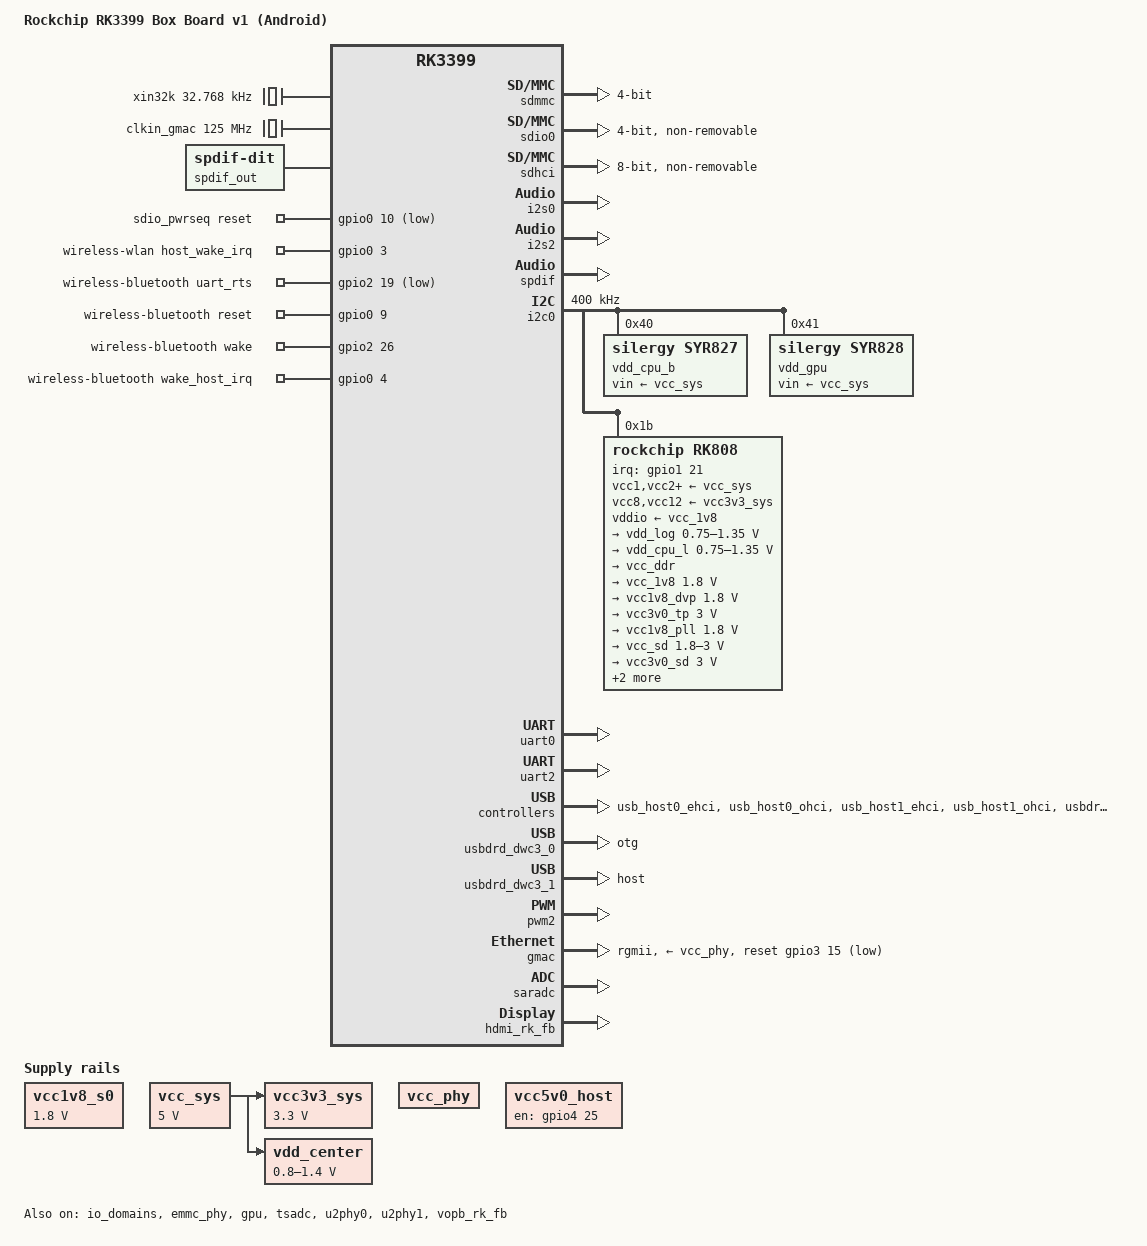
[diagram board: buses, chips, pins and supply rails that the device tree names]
/*
 * Copyright (c) 2016 Fuzhou Rockchip Electronics Co., Ltd
 *
 * This file is dual-licensed: you can use it either under the terms
 * of the GPL or the X11 license, at your option. Note that this dual
 * licensing only applies to this file, and not this project as a
 * whole.
 *
 *  a) This file is free software; you can redistribute it and/or
 *     modify it under the terms of the GNU General Public License as
 *     published by the Free Software Foundation; either version 2 of the
 *     License, or (at your option) any later version.
 *
 *     This file is distributed in the hope that it will be useful,
 *     but WITHOUT ANY WARRANTY; without even the implied warranty of
 *     MERCHANTABILITY or FITNESS FOR A PARTICULAR PURPOSE.  See the
 *     GNU General Public License for more details.
 *
 * Or, alternatively,
 *
 *  b) Permission is hereby granted, free of charge, to any person
 *     obtaining a copy of this software and associated documentation
 *     files (the "Software"), to deal in the Software without
 *     restriction, including without limitation the rights to use,
 *     copy, modify, merge, publish, distribute, sublicense, and/or
 *     sell copies of the Software, and to permit persons to whom the
 *     Software is furnished to do so, subject to the following
 *     conditions:
 *
 *     The above copyright notice and this permission notice shall be
 *     included in all copies or substantial portions of the Software.
 *
 *     THE SOFTWARE IS PROVIDED "AS IS", WITHOUT WARRANTY OF ANY KIND,
 *     EXPRESS OR IMPLIED, INCLUDING BUT NOT LIMITED TO THE WARRANTIES
 *     OF MERCHANTABILITY, FITNESS FOR A PARTICULAR PURPOSE AND
 *     NONINFRINGEMENT. IN NO EVENT SHALL THE AUTHORS OR COPYRIGHT
 *     HOLDERS BE LIABLE FOR ANY CLAIM, DAMAGES OR OTHER LIABILITY,
 *     WHETHER IN AN ACTION OF CONTRACT, TORT OR OTHERWISE, ARISING
 *     FROM, OUT OF OR IN CONNECTION WITH THE SOFTWARE OR THE USE OR
 *     OTHER DEALINGS IN THE SOFTWARE.
 */

/dts-v1/;

#include <dt-bindings/pwm/pwm.h>
#include <dt-bindings/input/input.h>
#include "rk3399.dtsi"
#include "rk3399-android-6.0.dtsi"

/ {
	model = "Rockchip RK3399 Box Board v1 (Android)";
	compatible = "rockchip,rk3399";

	vcc1v8_s0: vcc1v8-s0 {
		compatible = "regulator-fixed";
		regulator-name = "vcc1v8_s0";
		regulator-min-microvolt = <1800000>;
		regulator-max-microvolt = <1800000>;
		regulator-always-on;
	};

	vcc_sys: vcc-sys {
		compatible = "regulator-fixed";
		regulator-name = "vcc_sys";
		regulator-min-microvolt = <5000000>;
		regulator-max-microvolt = <5000000>;
		regulator-always-on;
	};

	vcc_phy: vcc-phy-regulator {
		compatible = "regulator-fixed";
		regulator-name = "vcc_phy";
		regulator-always-on;
		regulator-boot-on;
	};

	vcc3v3_sys: vcc3v3-sys {
		compatible = "regulator-fixed";
		regulator-name = "vcc3v3_sys";
		regulator-min-microvolt = <3300000>;
		regulator-max-microvolt = <3300000>;
		regulator-always-on;
		vin-supply = <&vcc_sys>;
	};

	vcc5v0_host: vcc5v0-host-regulator {
		compatible = "regulator-fixed";
		enable-active-high;
		gpio = <&gpio4 25 GPIO_ACTIVE_HIGH>;
		pinctrl-names = "default";
		pinctrl-0 = <&host_vbus_drv>;
		regulator-name = "vcc5v0_host";
		regulator-always-on;
	};

	vdd_center: vdd-center {
		compatible = "pwm-regulator";
		pwms = <&pwm2 0 25000 1>;
		regulator-name = "vdd_center";
		regulator-min-microvolt = <800000>;
		regulator-max-microvolt = <1400000>;
		regulator-always-on;
		regulator-boot-on;

		/* for rockchip boot on */
		rockchip,pwm_id= <2>;
		rockchip,pwm_voltage = <900000>;

		vin-supply = <&vcc_sys>;
	};

	xin32k: xin32k {
		compatible = "fixed-clock";
		clock-frequency = <32768>;
		clock-output-names = "xin32k";
		#clock-cells = <0>;
	};

	clkin_gmac: external-gmac-clock {
		compatible = "fixed-clock";
		clock-frequency = <125000000>;
		clock-output-names = "clkin_gmac";
		#clock-cells = <0>;
	};

	spdif-sound {
		status = "okay";
		compatible = "simple-audio-card";
		simple-audio-card,name = "ROCKCHIP,SPDIF";
		simple-audio-card,cpu {
			sound-dai = <&spdif>;
		};
		simple-audio-card,codec {
			sound-dai = <&spdif_out>;
		};
	};

	spdif_out: spdif-out {
		status = "okay";
		compatible = "linux,spdif-dit";
		#sound-dai-cells = <0>;
	};

	hdmi_sound: hdmi-sound {
		status = "okay";
		compatible = "simple-audio-card";
		simple-audio-card,format = "i2s";
		simple-audio-card,mclk-fs = <256>;
		simple-audio-card,name = "rockchip,hdmi";
		simple-audio-card,cpu {
			sound-dai = <&i2s2>;
		};
		simple-audio-card,codec {
			sound-dai = <&dw_hdmi_audio>;
		};
	};

	dw_hdmi_audio: dw-hdmi-audio {
		status = "okay";
		compatible = "rockchip,dw-hdmi-audio";
		#sound-dai-cells = <0>;
	};

	sdio_pwrseq: sdio-pwrseq {
		compatible = "mmc-pwrseq-simple";
		clocks = <&rk808 1>;
		clock-names = "ext_clock";
		pinctrl-names = "default";
		pinctrl-0 = <&wifi_enable_h>;

		/*
		 * On the module itself this is one of these (depending
		 * on the actual card populated):
		 * - SDIO_RESET_L_WL_REG_ON
		 * - PDN (power down when low)
		 */
		reset-gpios = <&gpio0 10 GPIO_ACTIVE_LOW>;
	};

	wireless-wlan {
		compatible = "wlan-platdata";
		rockchip,grf = <&grf>;
		wifi_chip_type = "ap6354";
		sdio_vref = <1800>;
		WIFI,host_wake_irq = <&gpio0 3 GPIO_ACTIVE_HIGH>;
		status = "okay";
	};

	wireless-bluetooth {
		compatible = "bluetooth-platdata";
		/* wifi-bt-power-toggle; */
		uart_rts_gpios = <&gpio2 19 GPIO_ACTIVE_LOW>;
		pinctrl-names = "default", "rts_gpio";
		pinctrl-0 = <&uart0_rts>;
		pinctrl-1 = <&uart0_gpios>;
		/* BT,power_gpio  = <&gpio3 19 GPIO_ACTIVE_HIGH>; */
		BT,reset_gpio    = <&gpio0 9 GPIO_ACTIVE_HIGH>;
		BT,wake_gpio     = <&gpio2 26 GPIO_ACTIVE_HIGH>;
		BT,wake_host_irq = <&gpio0 4 GPIO_ACTIVE_HIGH>;
		status = "okay";
	};
};

&io_domains {
	status = "okay";

	bt656-supply = <&vcc1v8_s0>; /* bt656_gpio2ab_ms */
	audio-supply = <&vcc1v8_s0>; /* audio_gpio3d4a_ms */
	sdmmc-supply = <&vcc_sd>; /* sdmmc_gpio4b_ms */
	gpio1830-supply = <&vcc_3v0>; /* gpio1833_gpio4cd_ms */
};

&sdmmc {
	clock-frequency = <150000000>;
	clock-freq-min-max = <400000 150000000>;
	supports-sd;
	bus-width = <4>;
	cap-mmc-highspeed;
	cap-sd-highspeed;
	disable-wp;
	num-slots = <1>;
	sd-uhs-sdr104;
	vqmmc-supply = <&vcc_sd>;
	pinctrl-names = "default";
	pinctrl-0 = <&sdmmc_clk &sdmmc_cmd &sdmmc_cd &sdmmc_bus4>;
	status = "okay";
};

&sdio0 {
	clock-frequency = <140000000>;
	clock-freq-min-max = <200000 140000000>;
	supports-sdio;
	bus-width = <4>;
	disable-wp;
	cap-sd-highspeed;
	cap-sdio-irq;
	keep-power-in-suspend;
	mmc-pwrseq = <&sdio_pwrseq>;
	non-removable;
	num-slots = <1>;
	pinctrl-names = "default";
	pinctrl-0 = <&sdio0_bus4 &sdio0_cmd &sdio0_clk>;
	sd-uhs-sdr104;
	status = "okay";
};

&emmc_phy {
	status = "okay";
};

&sdhci {
	bus-width = <8>;
	mmc-hs400-1_8v;
	supports-emmc;
	non-removable;
	mmc-hs400-enhanced-strobe;
	status = "okay";
};

&i2s0 {
	status = "okay";
	rockchip,i2s-broken-burst-len;
	rockchip,playback-channels = <8>;
	rockchip,capture-channels = <8>;
	#sound-dai-cells = <0>;
};

&i2s2 {
	#sound-dai-cells = <0>;
};

&spdif {
	pinctrl-0 = <&spdif_bus_1>;
	status = "okay";
	#sound-dai-cells = <0>;
};

&i2c0 {
	status = "okay";
	i2c-scl-rising-time-ns = <168>;
	i2c-scl-falling-time-ns = <4>;
	clock-frequency = <400000>;

	vdd_cpu_b: syr827@40 {
		compatible = "silergy,syr827";
		reg = <0x40>;
		regulator-compatible = "fan53555-reg";
		regulator-name = "vdd_cpu_b";
		regulator-min-microvolt = <712500>;
		regulator-max-microvolt = <1500000>;
		regulator-ramp-delay = <1000>;
		fcs,suspend-voltage-selector = <1>;
		regulator-always-on;
		regulator-boot-on;
		regulator-initial-state = <3>;
		vin-supply = <&vcc_sys>;
		regulator-state-mem {
			regulator-off-in-suspend;
		};
	};

	vdd_gpu: syr828@41 {
		compatible = "silergy,syr828";
		reg = <0x41>;
		regulator-compatible = "fan53555-reg";
		regulator-name = "vdd_gpu";
		regulator-min-microvolt = <735000>;
		regulator-max-microvolt = <1400000>;
		regulator-ramp-delay = <1000>;
		fcs,suspend-voltage-selector = <1>;
		regulator-always-on;
		regulator-boot-on;
		vin-supply = <&vcc_sys>;
		regulator-state-mem {
			regulator-off-in-suspend;
		};
	};

	rk808: pmic@1b {
		compatible = "rockchip,rk808";
		reg = <0x1b>;
		interrupt-parent = <&gpio1>;
		interrupts = <21 IRQ_TYPE_LEVEL_LOW>;
		pinctrl-names = "default";
		pinctrl-0 = <&pmic_int_l>;
		rockchip,system-power-controller;
		wakeup-source;
		#clock-cells = <1>;
		clock-output-names = "rk808-clkout1", "rk808-clkout2";

		vcc1-supply = <&vcc_sys>;
		vcc2-supply = <&vcc_sys>;
		vcc3-supply = <&vcc_sys>;
		vcc4-supply = <&vcc_sys>;
		vcc6-supply = <&vcc_sys>;
		vcc7-supply = <&vcc_sys>;
		vcc8-supply = <&vcc3v3_sys>;
		vcc9-supply = <&vcc_sys>;
		vcc10-supply = <&vcc_sys>;
		vcc11-supply = <&vcc_sys>;
		vcc12-supply = <&vcc3v3_sys>;
		vddio-supply = <&vcc_1v8>;

		regulators {
			vdd_log: DCDC_REG1 {
				regulator-name = "vdd_log";
				regulator-min-microvolt = <750000>;
				regulator-max-microvolt = <1350000>;
				regulator-ramp-delay = <6001>;
				regulator-always-on;
				regulator-boot-on;
				regulator-state-mem {
					regulator-on-in-suspend;
					regulator-suspend-microvolt = <900000>;
				};
			};

			vdd_cpu_l: DCDC_REG2 {
				regulator-name = "vdd_cpu_l";
				regulator-min-microvolt = <750000>;
				regulator-max-microvolt = <1350000>;
				regulator-ramp-delay = <6001>;
				regulator-always-on;
				regulator-boot-on;
				regulator-state-mem {
					regulator-off-in-suspend;
				};
			};

			vcc_ddr: DCDC_REG3 {
				regulator-name = "vcc_ddr";
				regulator-always-on;
				regulator-boot-on;
				regulator-state-mem {
					regulator-on-in-suspend;
				};
			};

			vcc_1v8: DCDC_REG4 {
				regulator-name = "vcc_1v8";
				regulator-min-microvolt = <1800000>;
				regulator-max-microvolt = <1800000>;
				regulator-always-on;
				regulator-boot-on;
				regulator-state-mem {
					regulator-on-in-suspend;
					regulator-suspend-microvolt = <1800000>;
				};
			};

			vcc1v8_dvp: LDO_REG1 {
				regulator-name = "vcc1v8_dvp";
				regulator-min-microvolt = <1800000>;
				regulator-max-microvolt = <1800000>;
				regulator-always-on;
				regulator-boot-on;
				regulator-state-mem {
					regulator-on-in-suspend;
					regulator-suspend-microvolt = <1800000>;
				};
			};

			vcc3v0_tp: LDO_REG2 {
				regulator-name = "vcc3v0_tp";
				regulator-min-microvolt = <3000000>;
				regulator-max-microvolt = <3000000>;
				regulator-always-on;
				regulator-boot-on;
				regulator-state-mem {
					regulator-off-in-suspend;
				};
			};

			vcc1v8_pll: LDO_REG3 {
				regulator-name = "vcc1v8_pll";
				regulator-min-microvolt = <1800000>;
				regulator-max-microvolt = <1800000>;
				regulator-always-on;
				regulator-boot-on;
				regulator-state-mem {
					regulator-on-in-suspend;
					regulator-suspend-microvolt = <1800000>;
				};
			};

			vcc_sd: LDO_REG4 {
				regulator-name = "vcc_sd";
				regulator-min-microvolt = <1800000>;
				regulator-max-microvolt = <3000000>;
				regulator-always-on;
				regulator-boot-on;
				regulator-state-mem {
					regulator-on-in-suspend;
					regulator-suspend-microvolt = <3000000>;
				};
			};

			vcc3v0_sd: LDO_REG5 {
				regulator-name = "vcc3v0_sd";
				regulator-min-microvolt = <3000000>;
				regulator-max-microvolt = <3000000>;
				regulator-always-on;
				regulator-boot-on;
				regulator-state-mem {
					regulator-on-in-suspend;
					regulator-suspend-microvolt = <3000000>;
				};
			};

			vcc_1v5: LDO_REG6 {
				regulator-name = "vcc_1v5";
				regulator-min-microvolt = <1500000>;
				regulator-max-microvolt = <1500000>;
				regulator-always-on;
				regulator-boot-on;
				regulator-state-mem {
					regulator-on-in-suspend;
					regulator-suspend-microvolt = <1500000>;
				};
			};

			vcc_0v9a: LDO_REG7 {
				regulator-name = "vcc_0v9a";
				regulator-min-microvolt = <900000>;
				regulator-max-microvolt = <900000>;
				regulator-always-on;
				regulator-boot-on;
				regulator-state-mem {
					regulator-on-in-suspend;
					regulator-suspend-microvolt = <900000>;
				};
			};

			vcc_3v0: LDO_REG8 {
				regulator-name = "vcc_3v0";
				regulator-min-microvolt = <3000000>;
				regulator-max-microvolt = <3000000>;
				regulator-always-on;
				regulator-boot-on;
				regulator-state-mem {
					regulator-on-in-suspend;
					regulator-suspend-microvolt = <3000000>;
				};
			};

			vcc3v3_s3: SWITCH_REG1 {
				regulator-name = "vcc3v3_s3";
				regulator-always-on;
				regulator-boot-on;
				regulator-state-mem {
					regulator-on-in-suspend;
				};
			};

			vcc3v3_s0: SWITCH_REG2 {
				regulator-name = "vcc3v3_s0";
				regulator-always-on;
				regulator-boot-on;
				regulator-state-mem {
					regulator-on-in-suspend;
				};
			};
		};
	};
};

&cpu_l0 {
	cpu-supply = <&vdd_cpu_l>;
};

&cpu_l1 {
	cpu-supply = <&vdd_cpu_l>;
};

&cpu_l2 {
	cpu-supply = <&vdd_cpu_l>;
};

&cpu_l3 {
	cpu-supply = <&vdd_cpu_l>;
};

&cpu_b0 {
	cpu-supply = <&vdd_cpu_b>;
};

&cpu_b1 {
	cpu-supply = <&vdd_cpu_b>;
};

&gpu {
	status = "okay";
	mali-supply = <&vdd_gpu>;
};

&tsadc {
	/* tshut mode 0:CRU 1:GPIO */
	rockchip,hw-tshut-mode = <1>;
	/* tshut polarity 0:LOW 1:HIGH */
	rockchip,hw-tshut-polarity = <1>;
	status = "okay";
};

&u2phy0 {
	status = "okay";

	u2phy0_otg: otg-port {
		status = "okay";
	};

	u2phy0_host: host-port {
		phy-supply = <&vcc5v0_host>;
		status = "okay";
	};
};

&u2phy1 {
	status = "okay";

	u2phy1_otg: otg-port {
		status = "okay";
	};

	u2phy1_host: host-port {
		phy-supply = <&vcc5v0_host>;
		status = "okay";
	};
};

&uart0 {
	pinctrl-names = "default";
	pinctrl-0 = <&uart0_xfer &uart0_cts>;
	status = "okay";
};

&uart2 {
	status = "okay";
};

&usb_host0_ehci {
	status = "okay";
};

&usb_host0_ohci {
	status = "okay";
};

&usb_host1_ehci {
	status = "okay";
};

&usb_host1_ohci {
	status = "okay";
};

&usbdrd3_0 {
	status = "okay";
};

&usbdrd_dwc3_0 {
	dr_mode = "otg";
	status = "okay";
};

&usbdrd3_1 {
	status = "okay";
};

&usbdrd_dwc3_1 {
	dr_mode = "host";
	status = "okay";
};

&pwm2 {
	status = "okay";
	pinctrl-names = "active";
	pinctrl-0 = <&pwm2_pin_pull_down>;
};

&pwm3 {
	status = "disabled";

	interrupts = <GIC_SPI 61 IRQ_TYPE_LEVEL_HIGH 0>;
	compatible = "rockchip,remotectl-pwm";
	remote_pwm_id = <3>;
	handle_cpu_id = <1>;

	ir_key1 {
		rockchip,usercode = <0x4040>;
		rockchip,key_table =
			<0xf2	KEY_REPLY>,
			<0xba	KEY_BACK>,
			<0xf4	KEY_UP>,
			<0xf1	KEY_DOWN>,
			<0xef	KEY_LEFT>,
			<0xee	KEY_RIGHT>,
			<0xbd	KEY_HOME>,
			<0xea	KEY_VOLUMEUP>,
			<0xe3	KEY_VOLUMEDOWN>,
			<0xe2	KEY_SEARCH>,
			<0xb2	KEY_POWER>,
			<0xbc	KEY_MUTE>,
			<0xec	KEY_MENU>,
			<0xbf	0x190>,
			<0xe0	0x191>,
			<0xe1	0x192>,
			<0xe9	183>,
			<0xe6	248>,
			<0xe8	185>,
			<0xe7	186>,
			<0xf0	388>,
			<0xbe	0x175>;
	};

	ir_key2 {
		rockchip,usercode = <0xff00>;
		rockchip,key_table =
			<0xf9	KEY_HOME>,
			<0xbf	KEY_BACK>,
			<0xfb	KEY_MENU>,
			<0xaa	KEY_REPLY>,
			<0xb9	KEY_UP>,
			<0xe9	KEY_DOWN>,
			<0xb8	KEY_LEFT>,
			<0xea	KEY_RIGHT>,
			<0xeb	KEY_VOLUMEDOWN>,
			<0xef	KEY_VOLUMEUP>,
			<0xf7	KEY_MUTE>,
			<0xe7	KEY_POWER>,
			<0xfc	KEY_POWER>,
			<0xa9	KEY_VOLUMEDOWN>,
			<0xa8	KEY_VOLUMEDOWN>,
			<0xe0	KEY_VOLUMEDOWN>,
			<0xa5	KEY_VOLUMEDOWN>,
			<0xab	183>,
			<0xb7	388>,
			<0xf8	184>,
			<0xaf	185>,
			<0xed	KEY_VOLUMEDOWN>,
			<0xee	186>,
			<0xb3	KEY_VOLUMEDOWN>,
			<0xf1	KEY_VOLUMEDOWN>,
			<0xf2	KEY_VOLUMEDOWN>,
			<0xf3	KEY_SEARCH>,
			<0xb4	KEY_VOLUMEDOWN>,
			<0xbe	KEY_SEARCH>;
	};

	ir_key3 {
		rockchip,usercode = <0x1dcc>;
		rockchip,key_table =
			<0xee	KEY_REPLY>,
			<0xf0	KEY_BACK>,
			<0xf8	KEY_UP>,
			<0xbb	KEY_DOWN>,
			<0xef	KEY_LEFT>,
			<0xed	KEY_RIGHT>,
			<0xfc	KEY_HOME>,
			<0xf1	KEY_VOLUMEUP>,
			<0xfd	KEY_VOLUMEDOWN>,
			<0xb7	KEY_SEARCH>,
			<0xff	KEY_POWER>,
			<0xf3	KEY_MUTE>,
			<0xbf	KEY_MENU>,
			<0xf9	0x191>,
			<0xf5	0x192>,
			<0xb3	388>,
			<0xbe	KEY_1>,
			<0xba	KEY_2>,
			<0xb2	KEY_3>,
			<0xbd	KEY_4>,
			<0xf9	KEY_5>,
			<0xb1	KEY_6>,
			<0xfc	KEY_7>,
			<0xf8	KEY_8>,
			<0xb0	KEY_9>,
			<0xb6	KEY_0>,
			<0xb5	KEY_BACKSPACE>;
	};
};

&gmac {
	phy-supply = <&vcc_phy>;
	phy-mode = "rgmii";
	clock_in_out = "input";
	snps,reset-gpio = <&gpio3 15 GPIO_ACTIVE_LOW>;
	snps,reset-active-low;
	snps,reset-delays-us = <0 10000 50000>;
	assigned-clocks = <&cru SCLK_RMII_SRC>;
	assigned-clock-parents = <&clkin_gmac>;
	pinctrl-names = "default";
	pinctrl-0 = <&rgmii_pins>;
	tx_delay = <0x28>;
	rx_delay = <0x11>;
	status = "okay";
};

&saradc {
	status = "okay";
};

&pinctrl {
	sdio-pwrseq {
		wifi_enable_h: wifi-enable-h {
			rockchip,pins = <0 10 RK_FUNC_GPIO &pcfg_pull_none>;
		};
	};

	wireless-bluetooth {
		uart0_gpios: uart0-gpios {
			rockchip,pins = <2 19 RK_FUNC_GPIO &pcfg_pull_none>;
		};
	};

	pmic {
		pmic_int_l: pmic-int-l {
			rockchip,pins =
				<1 21 RK_FUNC_GPIO &pcfg_pull_up>;
		};
	};

	usb2 {
		host_vbus_drv: host-vbus-drv {
			rockchip,pins =
				<4 25 RK_FUNC_GPIO &pcfg_pull_none>;
		};
	};
};

&rk_screen {
	#include <dt-bindings/display/screen-timing/lcd-box.dtsi>
};

&vopb_rk_fb {
	status = "okay";
};

&fb {
	rockchip,disp-mode = <NO_DUAL>;
	rockchip,disp-policy = <DISPLAY_POLICY_BOX>;
};

&hdmi_rk_fb {
	status = "okay";
	rockchip,hdmi_video_source = <DISPLAY_SOURCE_LCDC0>;
};

&i2s2 {
	status = "okay";
};

&pmu_io_domains {
	status = "okay";
	pmu1830-supply = <&vcc_1v8>;
};

